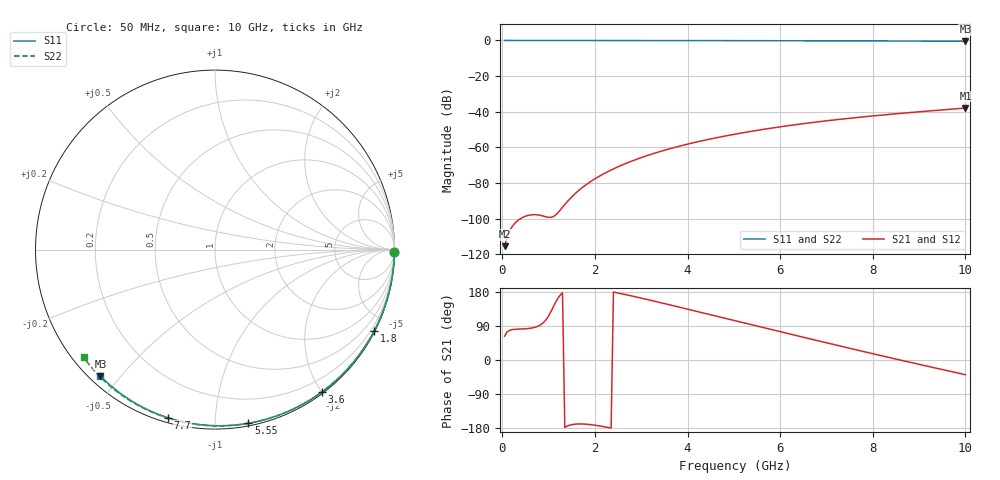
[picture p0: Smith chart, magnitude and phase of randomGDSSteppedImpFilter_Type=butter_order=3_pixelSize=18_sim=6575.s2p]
! freq	dB(S11)	phase(S11)	dB(S12)	phase(S12)
!  dB(S21)	phase(S21)	dB(S22)	phase(S22)
!S-par simulation data
#  GHz  S  DB  R 50
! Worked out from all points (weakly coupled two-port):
!   200 points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, 50 MHz to 10 GHz, reference 50 ohm
!   highest |S21| = -37.93 dB at 10 GHz (marker M1); lowest = -115.4 dB at 50 MHz (marker M2)
!   lowest |S11| = -0.4 dB at 10 GHz (marker M3), VSWR 39.60, Z = 1.51 - j22.1 ohm
!   |S11| at or under -10 dB: nowhere
!   |S22| runs from -0.5 to 0.0 dB; largest |S21 - S12| = 0
!   S11 on the Smith chart (normalised r, x): 50 MHz: open; 1.8 GHz: 0.04, -4.15; 3.6 GHz: 0.02, -2.01; 5.55 GHz: 0.02, -1.21; 7.7 GHz: 0.02, -0.76; 10 GHz: 0.03, -0.44
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0.05  -0.00 -0.8  -115.43 62.5  -115.43 62.5  -0.00 -0.8
0.45  -0.01 -6.9  -99.18 82.0  -99.18 82.0  -0.01 -7.3
0.9  -0.02 -13.7  -98.64 100.0  -98.64 100.0  -0.02 -14.5
1.3  -0.02 -19.7  -93.60 177.4  -93.60 177.4  -0.03 -20.9
1.75  -0.03 -26.4  -82.09 -169.0  -82.09 -169.0  -0.04 -28.0
1.8  -0.03 -27.1  -81.12 -169.3  -81.12 -169.3  -0.04 -28.8
1.85  -0.04 -27.9  -80.19 -169.8  -80.19 -169.8  -0.04 -29.6
2.2  -0.04 -33.0  -74.68 -176.0  -74.68 -176.0  -0.04 -35.0
2.55  -0.05 -38.1  -70.29 175.6  -70.29 175.6  -0.05 -40.4
2.95  -0.06 -43.8  -66.20 164.7  -66.20 164.7  -0.06 -46.5
3.4  -0.07 -50.2  -62.38 151.9  -62.38 151.9  -0.07 -53.2
3.6  -0.07 -53.0  -60.88 146.0  -60.88 146.0  -0.08 -56.2
3.9  -0.08 -57.2  -58.82 137.2  -58.82 137.2  -0.08 -60.6
4.3  -0.09 -62.6  -56.36 125.3  -56.36 125.3  -0.09 -66.4
5.05  -0.11 -72.6  -52.46 103.0  -52.46 103.0  -0.12 -77.0
5.55  -0.13 -79.2  -50.24 88.1  -50.24 88.1  -0.14 -83.9
6.1  -0.15 -86.2  -48.09 71.8  -48.09 71.8  -0.16 -91.3
6.7  -0.18 -93.6  -46.02 54.2  -46.02 54.2  -0.19 -99.2
7.7  -0.24 -105.7  -43.11 25.1  -43.11 25.1  -0.26 -112.0
8.35  -0.29 -113.3  -41.49 6.7  -41.49 6.7  -0.31 -120.2
9.2  -0.36 -123.1  -39.60 -16.9  -39.60 -16.9  -0.39 -130.8
10  -0.44 -132.2  -37.93 -38.8  -37.93 -38.8  -0.48 -140.7
